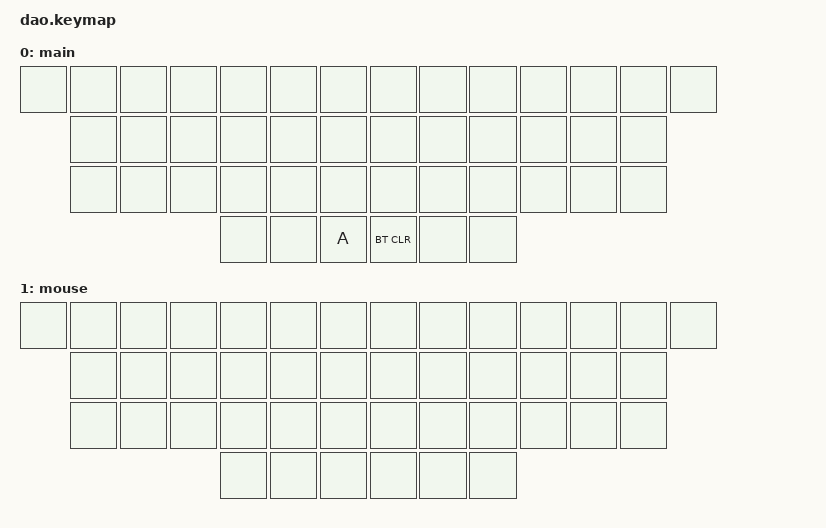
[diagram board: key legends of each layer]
/*
*
* Copyright (c) 2021 Darryl deHaan
* SPDX-License-Identifier: MIT
*
*/

#include <behaviors.dtsi>
#include <dt-bindings/zmk/keys.h>
#include <dt-bindings/zmk/bt.h>


/ {
        keymap {
                compatible = "zmk,keymap";
                default_layer {
			label = "main";
                        bindings = <
&none &none  &none         &none   &none   &none    &none  &none  &none           &none      &none   &none       &none &none
&none  &none         &none   &none   &none    &none  &none  &none           &none      &none   &none       &none 
&none  &none         &none   &none   &none    &none  &none  &none           &none      &none   &none       &none 
&none &none &kp A &bt BT_CLR &none &none
                        >;
                };

                mouse_layer {
			label = "mouse";
                        bindings = <
&none &none  &none         &none   &none   &none    &none  &none  &none           &none      &none   &none       &none &none
&none  &none         &none   &none   &none    &none  &none  &none           &none      &none   &none       &none 
&none  &none         &none   &none   &none    &none  &none  &none           &none      &none   &none       &none 
&none &none &none &none &none &none
                        > ;
                };
        };
};
